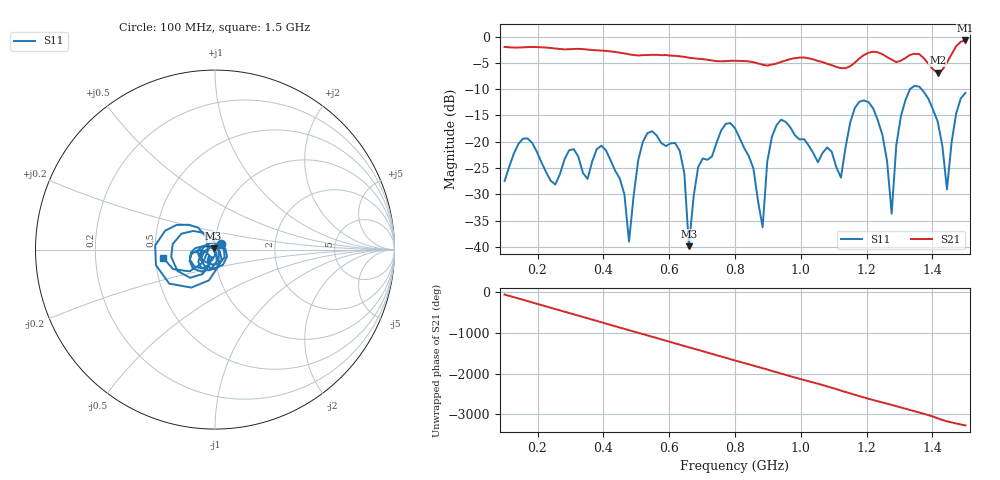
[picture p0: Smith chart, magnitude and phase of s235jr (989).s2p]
! NanoVNA-App
! Date: 2025-09-25 15:11:52
! Start: 100MHz Stop: 1,5GHz Points: 101
! S-Parameter data: F S11 S21 S12 S22
# Hz S RI R 50
!  Frequency  S11_Real  S11_Imag  S21_Real  S21_Imag  S12_Real  S12_Imag  S22_Real  S22_Imag
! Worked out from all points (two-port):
!   101 points, 100 MHz to 1.5 GHz, reference 50 ohm
!   highest |S21| = -0.74 dB at 1.5 GHz (marker M1); lowest = -6.9 dB at 1.416 GHz (marker M2)
!   |S21| within 3 dB of the highest: start of sweep to 630.7 MHz; 1.187 GHz to 1.258 GHz (70.99 MHz wide, 5.81 % of centre) (the widest 2 of 4)
!   lowest |S11| = -39.9 dB at 660 MHz (marker M3), VSWR 1.02, Z = 49.2 + j0.653 ohm
!   |S11| at or under -10 dB: start of sweep to 1.332 GHz; 1.367 GHz to end of sweep
!   S12 and S22 are empty: the file has one direction only
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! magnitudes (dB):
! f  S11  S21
! 100 MHz  -27.5  -2.0
! 156 MHz  -19.4  -2.0
! 338 MHz  -25.9  -2.4
! 408 MHz  -21.6  -2.7
! 478 MHz  -39.0  -3.4
! 520 MHz  -20.0  -3.5
! 576 MHz  -20.2  -3.5
! 632 MHz  -21.7  -3.7
! 660 MHz  -39.9  -4.0
! 688 MHz  -24.8  -4.2
! 800 MHz  -17.4  -4.6
! 884 MHz  -36.3  -5.4
! 926 MHz  -16.9  -5.1
! 1.038 GHz  -22.2  -4.3
! 1.122 GHz  -26.8  -6.0
! 1.206 GHz  -12.5  -3.1
! 1.276 GHz  -33.7  -4.4
! 1.29 GHz  -20.7  -4.8
! 1.332 GHz  -10.0  -3.5
! 1.416 GHz  -16.2  -6.9
! 1.444 GHz  -29.0  -4.9
! 1.5 GHz  -10.7  -0.7
